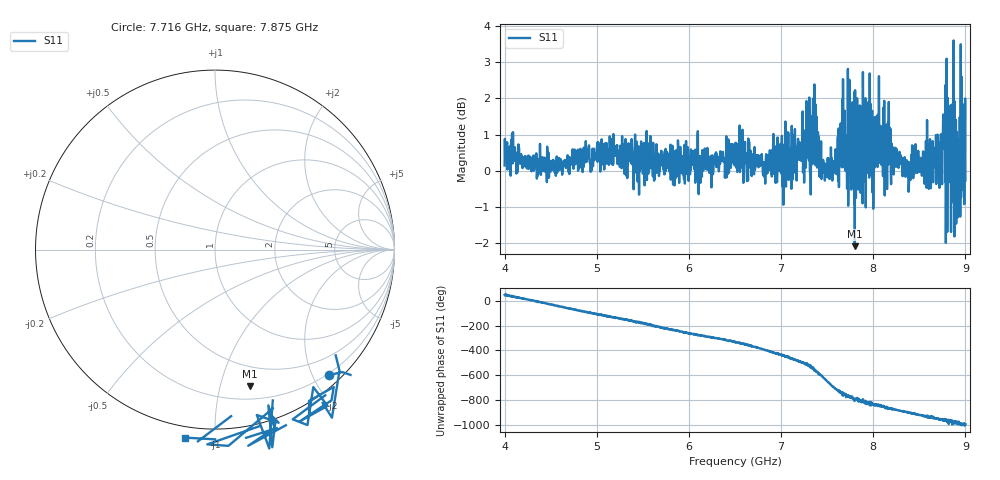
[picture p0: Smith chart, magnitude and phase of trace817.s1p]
! Created with skrf 1.8.0 (http://scikit-rf.org).
# Hz S RI R 50.0
!freq ReS11 ImS11
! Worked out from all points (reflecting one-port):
!   1601 points, 4 GHz to 9 GHz, reference 50 ohm
!   lowest |S11| = -2.1 dB at 7.8 GHz (marker M1), VSWR 8.37, Z = 15.6 - j62.2 ohm
!   phase of S11 starts at 51 deg and turns -1047 deg over the sweep
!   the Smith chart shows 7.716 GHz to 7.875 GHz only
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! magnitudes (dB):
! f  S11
! 4 GHz  0.1
! 4.625 GHz  -0.1
! 5.25 GHz  0.1
! 5.875 GHz  0.3
! 6.5 GHz  0.4
! 6.828 GHz  -0.4
! 7.125 GHz  0.3
! 7.244 GHz  0.0
! 7.284 GHz  1.6
! 7.319 GHz  0.2
! 7.359 GHz  1.3
! 7.412 GHz  0.3
! 7.475 GHz  -0.3
! 7.594 GHz  0.2
! 7.666 GHz  2.0
! 7.706 GHz  0.7
! 7.75 GHz  0.1
! 7.775 GHz  1.9
! 7.8 GHz  -2.1
! 7.912 GHz  1.9
! 8 GHz  -1.1
! 8.05 GHz  1.5
! 8.375 GHz  0.1
! 8.725 GHz  0.7
! 8.775 GHz  0.9
! 8.906 GHz  0.6
! 8.972 GHz  0.6
! 9 GHz  -0.3
